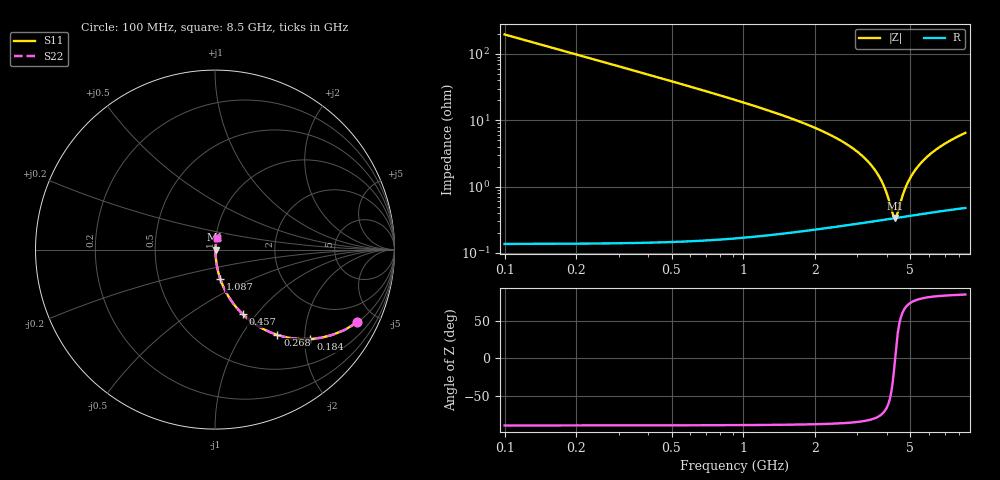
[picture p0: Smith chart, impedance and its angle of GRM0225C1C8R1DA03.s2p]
!Murata Part Number: GRM0225C1C8R1DA03
!These Parameters are Measured in Series Mode Connection
!Data Generated on Mar 30, 2021
!  o--ll--o
!Port1  Port2
!  o------o
!Operation Temp=25[degC], DC Bias Voltage=0[V]
!Freq. Start=100[MHz] Stop=9[GHz] 401[Steps]
# Hz S RI R 50
!Freq.(Hz) S11(Real) S11(Imag) S21(Real) S21(Imag) S12(Real) S12(Imag) S22(Real) S22(Imag)
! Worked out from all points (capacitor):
!   401 points, 100 MHz to 8.5 GHz, reference 50 ohm
!   read as one part in series: C = 8.1 pF near 142 MHz
!   lowest |Z| = 336 mohm at 4.321 GHz (marker M1)
!   series resonance near 4.316 GHz, so ESL is about 170 pH
!   S11 on the Smith chart (normalised r, x): 100 MHz: 1.00, -3.93; 184 MHz: 1.00, -2.13; 268 MHz: 1.00, -1.46; 457 MHz: 1.00, -0.85; 1.087 GHz: 1.00, -0.34; 8.5 GHz: 1.01, +0.13
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1e8  0.7939 -0.4041  0.2061 0.4041  0.2061 0.4041  0.7939 -0.4041
1.84e8  0.5318 -0.4983  0.4682 0.4983  0.4682 0.4983  0.5318 -0.4983
2.68e8  0.348 -0.4754  0.652 0.4754  0.652 0.4754  0.348 -0.4754
3.52e8  0.2356 -0.4231  0.7644 0.4231  0.7644 0.4231  0.2356 -0.4231
4.57e8  0.1537 -0.359  0.8463 0.359  0.8463 0.359  0.1537 -0.359
6.88e8  0.0729 -0.2573  0.9271 0.2573  0.9271 0.2573  0.0729 -0.2573
1.087e9  0.0293 -0.1635  0.9707 0.1635  0.9707 0.1635  0.0293 -0.1635
1.507e9  0.0147 -0.112  0.9853 0.112  0.9853 0.112  0.0147 -0.112
2.914e9  0.00401 -0.036  0.996 0.036  0.996 0.036  0.00401 -0.036
3.376e9  0.00342 -0.0221  0.9966 0.0221  0.9966 0.0221  0.00342 -0.0221
3.712e9  0.00326 -0.0135  0.9967 0.0135  0.9967 0.0135  0.00326 -0.0135
3.943e9  0.00325 -0.00806  0.9968 0.00806  0.9968 0.00806  0.00325 -0.00806
4.216e9  0.0033 -0.00209  0.9967 0.00209  0.9967 0.00209  0.0033 -0.00209
4.3e9  0.00334 -0.000336  0.9967 0.000336  0.9967 0.000336  0.00334 -0.000336
4.321e9  0.00334 9.64e-05  0.9967 -9.64e-05  0.9967 -9.64e-05  0.00334 9.64e-05
4.405e9  0.00338 0.00181  0.9966 -0.00181  0.9966 -0.00181  0.00338 0.00181
4.678e9  0.00355 0.00715  0.9965 -0.00715  0.9965 -0.00715  0.00355 0.00715
4.909e9  0.00372 0.0114  0.9963 -0.0114  0.9963 -0.0114  0.00372 0.0114
5.266e9  0.00404 0.0177  0.996 -0.0177  0.996 -0.0177  0.00404 0.0177
5.707e9  0.00452 0.025  0.9955 -0.025  0.9955 -0.025  0.00452 0.025
7.114e9  0.00646 0.0456  0.9935 -0.0456  0.9935 -0.0456  0.00646 0.0456
8.5e9  0.00883 0.0636  0.9912 -0.0636  0.9912 -0.0636  0.00883 0.0636
